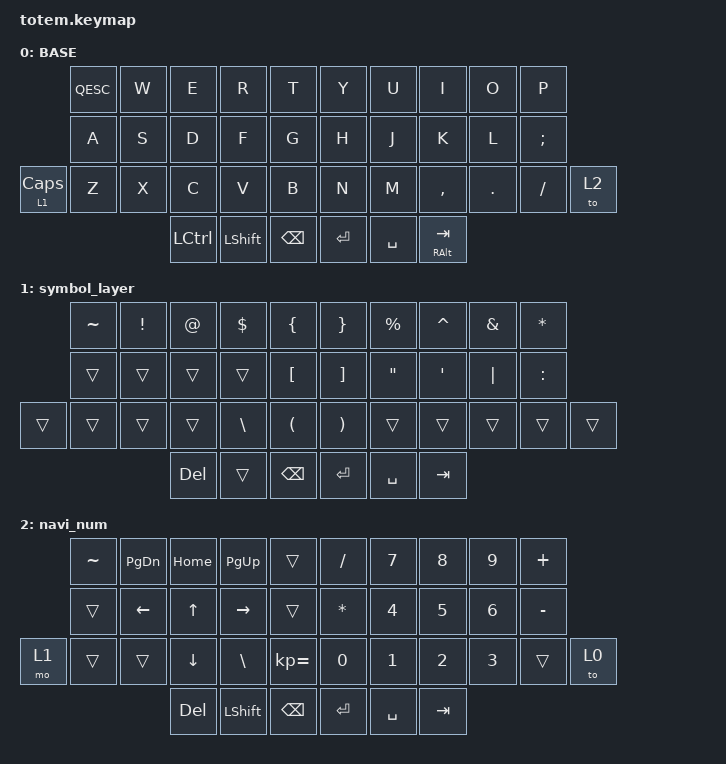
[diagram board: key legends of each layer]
//
//                                                        ▀▀▀▀▀     ▀▀▀▀▀          ▀▀█▀▀
//                                                        ▄▀▀▀▄  ▄  ▄▀▀▀▄  ▄  ▄▀▀▀▄  █  ▄▀▀▀▄
//                                                        █   █  █  █   █  █  █   █  █  █   █
//                                                         ▀▀▀   █   ▀▀▀   █   ▀▀▀   ▀   ▀▀▀
//                                                               █      ▄▄▄█▄▄▄    █   █  
//                                                               ▀      █  █  █     █▄█
//                                                             ▀▀▀▀▀    █  █  █      ▀
//                                                                      ▀  ▀  ▀
//
// ▄▄▄▄▄▄▄▄▄▄▄▄▄▄▄▄▄▄▄▄▄▄▄▄▄▄▄▄▄▄▄▄▄▄▄▄▄▄▄▄▄▄▄▄▄▄▄▄▄▄▄▄▄▄▄▄▄▄▄▄▄▄▄▄▄▄▄▄▄▄▄▄▄▄▄▄▄▄▄▄▄▄▄▄▄▄▄▄▄▄▄▄▄▄▄▄▄▄▄▄▄▄▄▄▄▄▄▄▄▄▄▄▄▄▄▄▄▄▄▄▄▄▄▄▄▄▄▄▄▄▄▄▄▄▄▄▄▄▄▄▄▄▄▄▄▄▄▄▄
#include <behaviors.dtsi>
#include <dt-bindings/zmk/keys.h>

/ {
    combos { compatible = "zmk,combos"; };

    behaviors {
        QESC: QESC {
            compatible = "zmk,behavior-tap-dance";
            label = "QESC";
            #binding-cells = <0>;
            bindings = <&kp Q>, <&kp ESCAPE>;
        };
    };

    keymap {
        compatible = "zmk,keymap";

        // ▄▄▄▄▄▄▄▄▄▄▄▄▄▄▄▄▄▄▄▄▄▄▄▄▄▄▄▄▄▄▄▄▄▄▄▄▄▄▄▄▄▄▄▄▄▄▄▄▄▄▄▄▄▄▄▄▄▄▄▄▄▄▄▄▄▄▄▄▄▄▄▄▄▄▄▄▄▄▄▄▄▄▄▄▄▄▄▄▄▄▄▄▄▄▄▄▄▄▄▄▄▄▄▄▄▄▄▄▄▄▄▄▄▄▄▄▄▄▄▄▄▄▄▄▄▄▄▄▄▄▄▄▄▄▄▄▄▄▄▄▄▄▄▄▄▄▄▄▄

        base_layer {
            // ┏━━━━━━━━━━━━━━━━━━━━━━━━━━━━━━━━━━━━━━━┓

            label = "BASE";

            // ┗━━━━━━━━━━━━━━━━━━━━━━━━━━━━━━━━━━━━━━━┛
            //             ┏━━━━━━━━━━━┳━━━━━━━━━━━┳━━━━━━━━━━━┳━━━━━━━━━━━┳━━━━━━━━━━━┓   ┏━━━━━━━━━━━┳━━━━━━━━━━━┳━━━━━━━━━━━┳━━━━━━━━━━━┳━━━━━━━━━━━┓
            //             ┃     Q     ┃     W     ┃     F     ┃     P     ┃     G     ┃   ┃     J     ┃     L     ┃     U     ┃     Y     ┃     ;     ┃
            //             ┣━━━━━━━━━━━╋━━━━━━━━━━━╋━━━━━━━━━━━╋━━━━━━━━━━━╋━━━━━━━━━━━┫   ┣━━━━━━━━━━━╋━━━━━━━━━━━╋━━━━━━━━━━━╋━━━━━━━━━━━╋━━━━━━━━━━━┫
            //             ┃     A     ┃     R     ┃     S     ┃     T     ┃     D     ┃   ┃     H     ┃     N     ┃     E     ┃     I     ┃     O     ┃
            // ┏━━━━━━━━━━━╋━━━━━━━━━━━╋━━━━━━━━━━━╋━━━━━━━━━━━╋━━━━━━━━━━━╋━━━━━━━━━━━┫   ┣━━━━━━━━━━━╋━━━━━━━━━━━╋━━━━━━━━━━━╋━━━━━━━━━━━╋━━━━━━━━━━━╋━━━━━━━━━━━┓
            // ┃     Q     ┃     Z     ┃     X     ┃     C     ┃     V     ┃     B     ┃   ┃     K     ┃     M     ┃     ,     ┃     .     ┃     /     ┃     \     ┃
            // ┗━━━━━━━━━━━┻━━━━━━━━━━━┻━━━━━━━━━━━╋━━━━━━━━━━━╋━━━━━━━━━━━╋━━━━━━━━━━━┫   ┣━━━━━━━━━━━╋━━━━━━━━━━━╋━━━━━━━━━━━╋━━━━━━━━━━━┻━━━━━━━━━━━┻━━━━━━━━━━━┛
            //                                     ┃    DEL    ┃    TAB    ┃    SPC    ┃   ┃   ENTER   ┃           ┃   BSPC    ┃
            //                                     ┗━━━━━━━━━━━┻━━━━━━━━━━━┻━━━━━━━━━━━┛   ┗━━━━━━━━━━━┻━━━━━━━━━━━┻━━━━━━━━━━━┛

            bindings = <
                &QESC  &kp W  &kp E      &kp R           &kp T            &kp Y    &kp U      &kp I              &kp O    &kp P
                &kp A  &kp S  &kp D      &kp F           &kp G            &kp H    &kp J      &kp K              &kp L    &kp SEMICOLON
&lt 1 CAPSLOCK  &kp Z  &kp X  &kp C      &kp V           &kp B            &kp N    &kp M      &kp COMMA          &kp DOT  &kp FSLH       &to 2
                              &kp LCTRL  &kp LEFT_SHIFT  &kp BACKSPACE    &kp RET  &kp SPACE  &mt RIGHT_ALT TAB
            >;
        };

        // ▄▄▄▄▄▄▄▄▄▄▄▄▄▄▄▄▄▄▄▄▄▄▄▄▄▄▄▄▄▄▄▄▄▄▄▄▄▄▄▄▄▄▄▄▄▄▄▄▄▄▄▄▄▄▄▄▄▄▄▄▄▄▄▄▄▄▄▄▄▄▄▄▄▄▄▄▄▄▄▄▄▄▄▄▄▄▄▄▄▄▄▄▄▄▄▄▄▄▄▄▄▄▄▄▄▄▄▄▄▄▄▄▄▄▄▄▄▄▄▄▄▄▄▄▄▄▄▄▄▄▄▄▄▄▄▄▄▄▄▄▄▄▄▄▄▄▄▄▄
        // ▄▄▄▄▄▄▄▄▄▄▄▄▄▄▄▄▄▄▄▄▄▄▄▄▄▄▄▄▄▄▄▄▄▄▄▄▄▄▄▄▄▄▄▄▄▄▄▄▄▄▄▄▄▄▄▄▄▄▄▄▄▄▄▄▄▄▄▄▄▄▄▄▄▄▄▄▄▄▄▄▄▄▄▄▄▄▄▄▄▄▄▄▄▄▄▄▄▄▄▄▄▄▄▄▄▄▄▄▄▄▄▄▄▄▄▄▄▄▄▄▄▄▄▄▄▄▄▄▄▄▄▄▄▄▄▄▄▄▄▄▄▄▄▄▄▄▄▄▄
        // ▄▄▄▄▄▄▄▄▄▄▄▄▄▄▄▄▄▄▄▄▄▄▄▄▄▄▄▄▄▄▄▄▄▄▄▄▄▄▄▄▄▄▄▄▄▄▄▄▄▄▄▄▄▄▄▄▄▄▄▄▄▄▄▄▄▄▄▄▄▄▄▄▄▄▄▄▄▄▄▄▄▄▄▄▄▄▄▄▄▄▄▄▄▄▄▄▄▄▄▄▄▄▄▄▄▄▄▄▄▄▄▄▄▄▄▄▄▄▄▄▄▄▄▄▄▄▄▄▄▄▄▄▄▄▄▄▄▄▄▄▄▄▄▄▄▄▄▄▄
        // ▄▄▄▄▄▄▄▄▄▄▄▄▄▄▄▄▄▄▄▄▄▄▄▄▄▄▄▄▄▄▄▄▄▄▄▄▄▄▄▄▄▄▄▄▄▄▄▄▄▄▄▄▄▄▄▄▄▄▄▄▄▄▄▄▄▄▄▄▄▄▄▄▄▄▄▄▄▄▄▄▄▄▄▄▄▄▄▄▄▄▄▄▄▄▄▄▄▄▄▄▄▄▄▄▄▄▄▄▄▄▄▄▄▄▄▄▄▄▄▄▄▄▄▄▄▄▄▄▄▄▄▄▄▄▄▄▄▄▄▄▄▄▄▄▄▄▄▄▄
        // ▄▄▄▄▄▄▄▄▄▄▄▄▄▄▄▄▄▄▄▄▄▄▄▄▄▄▄▄▄▄▄▄▄▄▄▄▄▄▄▄▄▄▄▄▄▄▄▄▄▄▄▄▄▄▄▄▄▄▄▄▄▄▄▄▄▄▄▄▄▄▄▄▄▄▄▄▄▄▄▄▄▄▄▄▄▄▄▄▄▄▄▄▄▄▄▄▄▄▄▄▄▄▄▄▄▄▄▄▄▄▄▄▄▄▄▄▄▄▄▄▄▄▄▄▄▄▄▄▄▄▄▄▄▄▄▄▄▄▄▄▄▄▄▄▄▄▄▄▄

        symbol_layer {
            bindings = <
        &kp TILDE  &kp EXCLAMATION  &kp AT_SIGN  &kp DOLLAR     &kp LEFT_BRACE          &kp RIGHT_BRACE        &kp PERCENT        &kp CARET  &kp AMPERSAND  &kp ASTERISK
        &trans     &trans           &trans       &trans         &kp LEFT_BRACKET        &kp RIGHT_BRACKET      &kp DOUBLE_QUOTES  &kp SQT    &kp PIPE       &kp COLON
&trans  &trans     &trans           &trans       &kp BACKSLASH  &kp LEFT_PARENTHESIS    &kp RIGHT_PARENTHESIS  &trans             &trans     &trans         &trans        &trans
                                    &kp DELETE   &trans         &kp BACKSPACE           &kp ENTER              &kp SPACE          &kp TAB
            >;
        };

        navi_num {
            bindings = <
       &kp TILDE  &kp PAGE_DOWN  &kp HOME        &kp PAGE_UP     &trans           &kp FSLH   &kp N7     &kp N8   &kp N9  &kp PLUS
       &trans     &kp LEFT       &kp UP_ARROW    &kp RIGHT       &trans           &kp STAR   &kp N4     &kp N5   &kp N6  &kp MINUS
&mo 1  &trans     &trans         &kp DOWN_ARROW  &kp BACKSLASH   &kp KP_EQUAL     &kp N0     &kp N1     &kp N2   &kp N3  &trans     &to 0
                                 &kp DELETE      &kp LEFT_SHIFT  &kp BACKSPACE    &kp ENTER  &kp SPACE  &kp TAB
            >;
        };
    };
};
 
